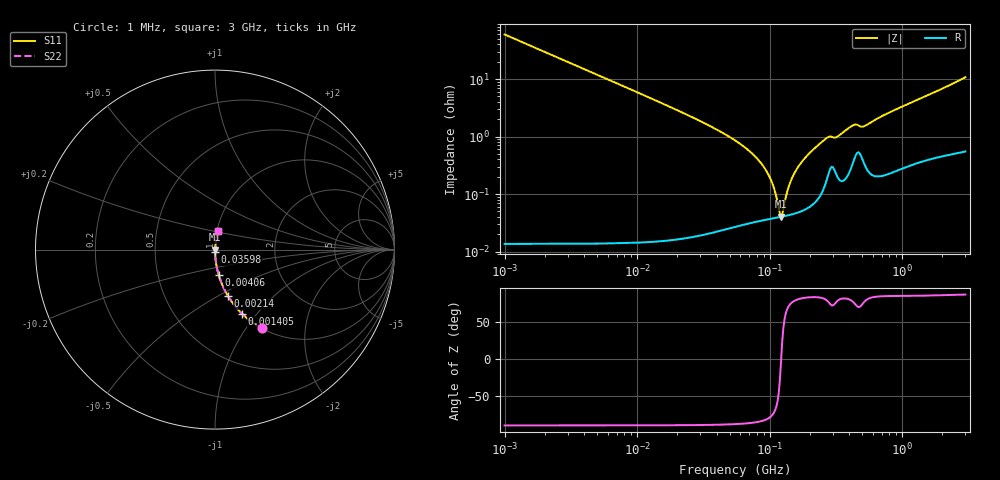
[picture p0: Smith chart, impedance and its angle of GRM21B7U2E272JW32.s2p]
!Murata Part Number: GRM21B7U2E272JW32
!These Parameters are Measured in Series Mode Connection
!Data Generated on Mar 30, 2021
!  o--ll--o
!Port1  Port2
!  o------o
!Operation Temp=25[degC], DC Bias Voltage=0[V]
!Freq. Start=1000[kHz] Stop=3[GHz] 401[Steps]
# Hz S RI R 50
!Freq.(Hz) S11(Real) S11(Imag) S21(Real) S21(Imag) S12(Real) S12(Imag) S22(Real) S22(Imag)
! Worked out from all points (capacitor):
!   401 points, 1 MHz to 3 GHz, reference 50 ohm
!   read as one part in series: C = 2.68 nF near 1.041 MHz
!   lowest |Z| = 40.4 mohm at 122 MHz (marker M1)
!   series resonance near 122.2 MHz, so ESL is about 630 pH
!   S11 on the Smith chart (normalised r, x): 1 MHz: 1.00, -1.19; 1.405 MHz: 1.00, -0.84; 2.14 MHz: 1.00, -0.55; 4.06 MHz: 1.00, -0.29; 35.98 MHz: 1.00, -0.03; 3 GHz: 1.01, +0.21
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1000000  0.2607 -0.4389  0.7393 0.4389  0.7393 0.4389  0.2607 -0.4389
1405328  0.1515 -0.3584  0.8485 0.3584  0.8485 0.3584  0.1515 -0.3584
2139570  0.0716 -0.2575  0.9284 0.2575  0.9284 0.2575  0.0716 -0.2575
3823119  0.0236 -0.1515  0.9764 0.1515  0.9764 0.1515  0.0236 -0.1515
4059721  0.021 -0.143  0.979 0.143  0.979 0.143  0.021 -0.143
1.461624e7  0.00175 -0.0399  0.9983 0.0399  0.9983 0.0399  0.00175 -0.0399
3.597591e7  0.000435 -0.015  0.9996 0.015  0.9996 0.015  0.000435 -0.015
5.477226e7  0.000343 -0.00859  0.9997 0.00859  0.9997 0.00859  0.000343 -0.00859
7.395247e7  0.000345 -0.00504  0.9997 0.00504  0.9997 0.00504  0.000345 -0.00504
9.216659e7  0.000364 -0.00275  0.9996 0.00275  0.9996 0.00275  0.000364 -0.00275
1.039275e8  0.000378 -0.00157  0.9996 0.00157  0.9996 0.00157  0.000378 -0.00157
1.171891e8  0.000396 -0.000404  0.9996 0.000404  0.9996 0.000404  0.000396 -0.000404
1.219755e8  0.000403 -1.74e-05  0.9996 1.74e-05  0.9996 1.74e-05  0.000403 -1.74e-05
1.403209e8  0.000434 0.00135  0.9996 -0.00135  0.9996 -0.00135  0.000434 0.00135
1.520175e8  0.000459 0.00215  0.9995 -0.00215  0.9995 -0.00215  0.000459 0.00215
2.094008e8  0.000678 0.00568  0.9993 -0.00568  0.9993 -0.00568  0.000678 0.00568
2.771263e8  0.00228 0.00955  0.9977 -0.00955  0.9977 -0.00955  0.00228 0.00955
3.188066e8  0.00226 0.00947  0.9977 -0.00947  0.9977 -0.00947  0.00226 0.00947
4.304467e8  0.004 0.0153  0.996 -0.0153  0.996 -0.0153  0.004 0.0153
5.258324e8  0.0033 0.015  0.9967 -0.015  0.9967 -0.015  0.0033 0.015
8.005644e8  0.00294 0.026  0.9971 -0.026  0.9971 -0.026  0.00294 0.026
3e9  0.0167 0.105  0.9833 -0.105  0.9833 -0.105  0.0167 0.105
